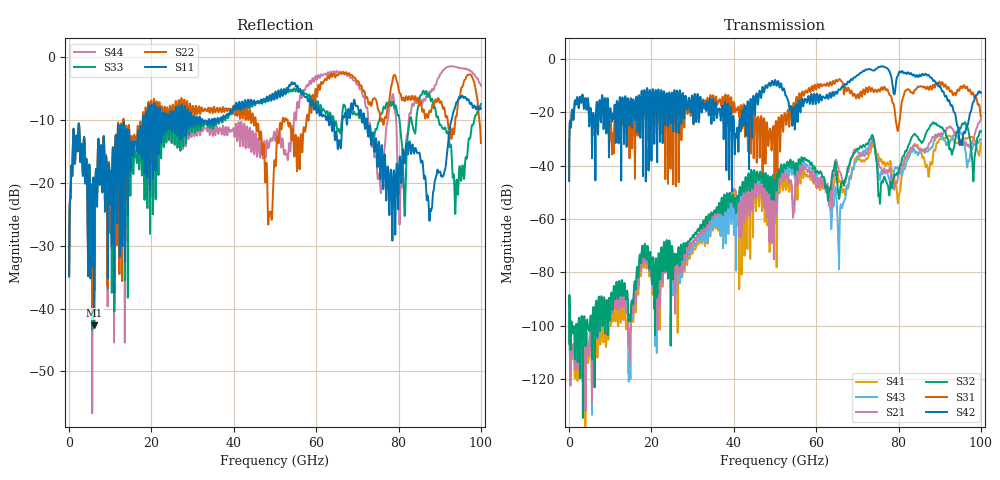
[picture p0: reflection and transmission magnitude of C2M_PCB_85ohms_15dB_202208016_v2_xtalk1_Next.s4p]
! Info: Touchstone file created by Circ.  Input file=Intel_C2M_200G_4p0in_202208016_staggered.circ
# Hz S RI R 50
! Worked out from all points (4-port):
!   10000 points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, 10 MHz to 100 GHz, reference 50 ohm
!   strongest paths, dB at 10 MHz, 25.01 GHz, 50.01 GHz, 75.01 GHz, 100 GHz:
!     S42: -45.7, -13.0, -7.9, -3.2, -12.7
!     S31: -45.8, -15.1, -29.3, -11.7, -21.6
!     S32: -106.8, -70.4, -44.5, -48.0, -27.2
!     S21: -95.9, -71.2, -47.4, -37.8, -22.5
!     S43: -96.3, -70.7, -50.1, -41.9, -30.4
!     S41: -95.2, -70.6, -52.1, -35.7, -31.5
!   lowest |S11| = -42.6 dB at 6.12 GHz (marker M1), VSWR 1.01, Z = 50.5 + j0.514 ohm
!   |S11| at or under -10 dB: start of sweep to 17.95 GHz; 63.64 GHz to 66.38 GHz (2.733 GHz wide, 4.2 % of centre); 72.37 GHz to 92.87 GHz (20.49 GHz wide, 24.8 % of centre)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
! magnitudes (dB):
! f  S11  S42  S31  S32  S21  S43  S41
! 10 MHz  -34.9  -45.7  -45.8  -106.8  -95.9  -96.3  -95.2
! 6.12 GHz  -42.6  -22.4  -24.6  -100.4  -106.8  -103.8  -111.3
! 53.38 GHz  -4.5  -17.4  -23.8  -40.5  -45.7  -43.7  -48.4
! 65.53 GHz  -13.3  -11.5  -7.7  -52.0  -42.1  -76.8  -46.1
! 76.15 GHz  -17.1  -3.0  -11.5  -46.4  -42.3  -43.2  -39.4
! 95.17 GHz  -6.4  -30.9  -10.3  -25.8  -31.4  -28.0  -30.6
! 100 GHz  -8.2  -12.7  -21.6  -27.2  -22.5  -30.4  -31.5
